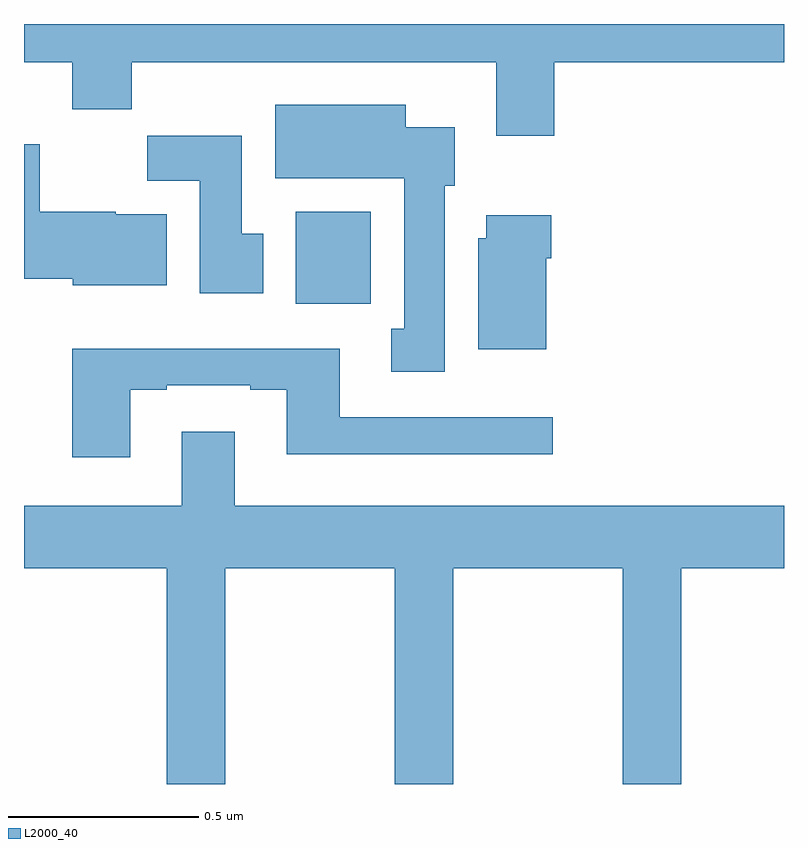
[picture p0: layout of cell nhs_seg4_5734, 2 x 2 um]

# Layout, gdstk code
import gdstk
lib = gdstk.Library(unit=1e-6, precision=1e-09)
def R(c, l, rs):  # rectangles x0, y0, x1, y1
    for r in rs: c.add(gdstk.rectangle(r[:2], r[2:], *l))
def P(c, l, *ps):  # polygons
    for p in ps: c.add(gdstk.Polygon(p, *l))
L2000_40 = (2000, 40)

nhs_seg4_5734 = lib.new_cell('nhs_seg4_5734')
R(nhs_seg4_5734, L2000_40, [(181.715,816.164,181.912,816.406)])
P(nhs_seg4_5734, L2000_40, [(182.396,816.8),(183,816.8),(183,816.9),(181,816.9),(181,816.8),(181.127,816.8),(181.127,816.676),(181.283,816.676),(181.283,816.8),(182.243,816.8),(182.243,816.606),(182.396,816.606)],
  [(182.107,816.474),(182.134,816.474),(182.134,816.628),(182.005,816.628),(182.005,816.688),(181.661,816.688),(181.661,816.494),(182,816.494),(182,816.098),(181.967,816.098),(181.967,815.985),(182.107,815.985)],
  [(181.63,816.348),(181.573,816.348),(181.573,816.606),(181.324,816.606),(181.324,816.488),(181.463,816.488),(181.463,816.192),(181.63,816.192)],
  [(181.375,816.4),(181.242,816.4),(181.242,816.406),(181.042,816.406),(181.042,816.583),(181,816.583),(181,816.23),(181.128,816.23),(181.128,816.212),(181.375,816.212)],
  [(182.374,816.284),(182.387,816.284),(182.387,816.397),(182.216,816.397),(182.216,816.336),(182.195,816.336),(182.195,816.044),(182.374,816.044)],
  [(181.279,815.937),(181.375,815.937),(181.375,815.949),(181.595,815.949),(181.595,815.937),(181.691,815.937),(181.691,815.768),(182.392,815.768),(182.392,815.865),(181.831,815.865),(181.831,816.046),(181.127,816.046),(181.127,815.76),(181.279,815.76)],
  [(181.53,815.468),(181.975,815.468),(181.975,814.9),(182.13,814.9),(182.13,815.468),(182.575,815.468),(182.575,814.9),(182.73,814.9),(182.73,815.468),(183,815.468),(183,815.632),(181.555,815.632),(181.555,815.827),(181.415,815.827),(181.415,815.632),(181,815.632),(181,815.468),(181.375,815.468),(181.375,814.9),(181.53,814.9)])

lib.write_gds('nhs_seg4_5734.gds')
